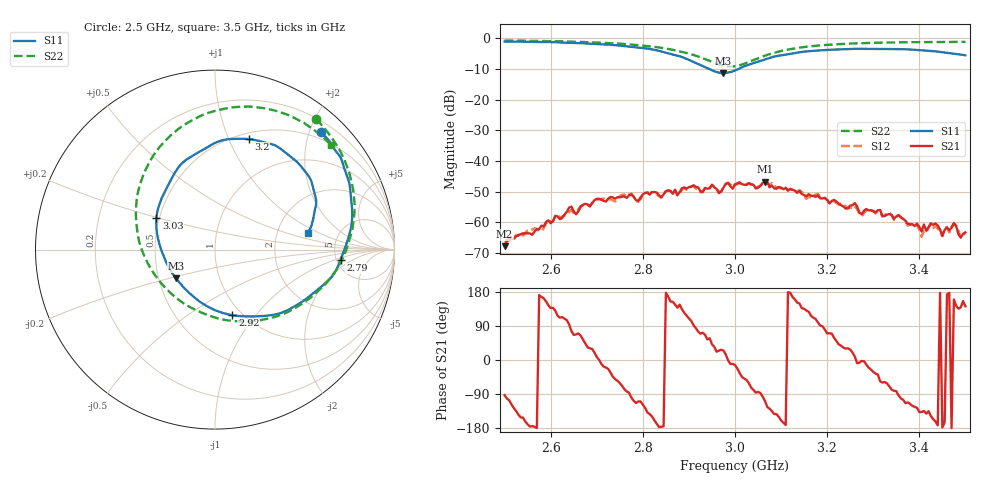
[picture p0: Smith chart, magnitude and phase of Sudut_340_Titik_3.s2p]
# Hz S RI R 50
! CMT, C1220, 16058040, 17.2.0/1
! Date: 15/08/2018 10:45:26
! Data: Format (Calibration Info)
! Freq  S11: Re/Im (F2)  S21: Re/Im (F2)  S12: Re/Im (F2)  S22: Re/Im (F2)
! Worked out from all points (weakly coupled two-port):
!   201 points, 2.5 GHz to 3.5 GHz, reference 50 ohm
!   highest |S21| = -46.72 dB at 3.065 GHz (marker M1); lowest = -67.8 dB at 2.5 GHz (marker M2)
!   lowest |S11| = -11.4 dB at 2.975 GHz (marker M3), VSWR 1.74, Z = 30.8 - j10.6 ohm
!   |S11| at or under -10 dB: 2.944 GHz to 3.008 GHz (64.11 MHz wide, 2.15 % of centre)
!   |S22| runs from -9.2 to -0.7 dB; largest |S21 - S12| = 0.00041
!   S11 on the Smith chart (normalised r, x): 2.5 GHz: 0.37, +2.20; 2.79 GHz: 5.43, -1.22; 2.92 GHz: 0.90, -0.77; 3.03 GHz: 0.48, +0.20; 3.2 GHz: 0.56, +1.19; 3.5 GHz: 2.99, +0.79
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2.5e9  0.5926 0.6539  -1.94e-05 -0.000407  -3.81e-05 -0.000438  0.5632 0.7257
2.67e9  0.7524 0.3433  0.00113 0.00156  0.00122 0.00144  0.7384 0.4539
2.775e9  0.7226 0.00447  -0.000439 -0.00279  -0.000498 -0.00288  0.7718 0.1585
2.79e9  0.6996 -0.0571  -0.000749 -0.00212  -0.000858 -0.00198  0.7634 0.1066
2.835e9  0.5845 -0.2129  -0.00275 -0.000167  -0.00264 -0.000239  0.7032 -0.0657
2.92e9  0.0974 -0.366  0.000964 0.00358  0.00087 0.0033  0.3362 -0.3747
2.975e9  -0.2167 -0.1604  0.00334 0.00155  0.00332 0.00159  -0.0968 -0.3418
3e9  -0.2976 -0.00761  0.00403 -0.000967  0.00394 -0.00121  -0.2745 -0.2154
3.03e9  -0.326 0.1774  0.0021 -0.00383  0.00206 -0.0038  -0.4102 0.00535
3.065e9  -0.2543 0.3711  -0.00142 -0.00439  -0.00128 -0.00418  -0.4355 0.2816
3.17e9  0.0887 0.6162  -0.000993 0.0025  -0.00121 0.00241  -0.0892 0.7406
3.2e9  0.1875 0.6159  0.000789 0.00216  0.000851 0.00218  0.0202 0.7772
3.26e9  0.3482 0.5734  0.00203 0.000325  0.0018 0.000298  0.2088 0.7957
3.275e9  0.3769 0.5527  0.00134 -5.71e-05  0.00124 -9.02e-05  0.2503 0.7911
3.335e9  0.489 0.4519  0.00047 -0.00127  0.000501 -0.00135  0.3916 0.7557
3.395e9  0.5488 0.3351  -0.000563 -0.000767  -0.000622 -0.000675  0.5029 0.701
3.405e9  0.5559 0.309  -0.000518 -0.000479  -0.000437 -0.000384  0.5187 0.6895
3.425e9  0.5642 0.2621  -0.000817 -0.000513  -0.00079 -0.000491  0.5489 0.6696
3.45e9  0.5541 0.2075  -0.000601 -1.94e-05  -0.000592 -1.33e-05  0.5852 0.6409
3.475e9  0.5408 0.1432  -0.000911 0.000338  -0.000902 0.000304  0.616 0.6135
3.49e9  0.5281 0.1133  -0.000428 0.000371  -0.000397 0.000398  0.6339 0.5951
3.5e9  0.5178 0.0949  -0.000536 0.000425  -0.000453 0.000488  0.6449 0.5839
